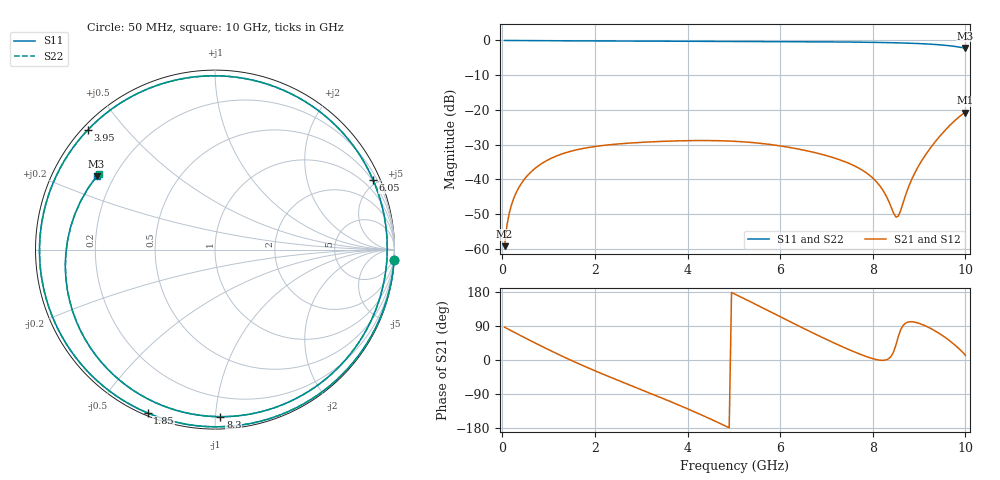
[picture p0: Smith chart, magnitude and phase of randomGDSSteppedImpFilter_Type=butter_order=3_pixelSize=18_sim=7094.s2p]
! freq	dB(S11)	phase(S11)	dB(S12)	phase(S12)
!  dB(S21)	phase(S21)	dB(S22)	phase(S22)
!S-par simulation data
#  GHz  S  DB  R 50
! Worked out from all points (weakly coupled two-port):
!   200 points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, 50 MHz to 10 GHz, reference 50 ohm
!   highest |S21| = -20.84 dB at 10 GHz (marker M1); lowest = -59.3 dB at 50 MHz (marker M2)
!   lowest |S11| = -2.2 dB at 10 GHz (marker M3), VSWR 7.92, Z = 6.81 + j14 ohm
!   |S11| at or under -10 dB: nowhere
!   |S22| runs from -2.2 to 0.0 dB; largest |S21 - S12| = 0
!   S11 on the Smith chart (normalised r, x): 50 MHz: 0, -35; 1.85 GHz: 0.01, -0.67; 3.95 GHz: 0.02, +0.40; 6.05 GHz: 0.45, +4.71; 8.3 GHz: 0.07, -1.03; 10 GHz: 0.14, +0.28
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0.05  -0.00 -3.3  -59.27 86.4  -59.27 86.4  -0.00 -3.3
0.1  -0.01 -6.5  -53.28 83.3  -53.28 83.3  -0.01 -6.5
0.2  -0.02 -12.9  -47.31 76.9  -47.31 76.9  -0.02 -12.9
0.5  -0.05 -32.0  -39.60 57.8  -39.60 57.8  -0.04 -32.0
1.15  -0.09 -72.1  -33.40 18.4  -33.40 18.4  -0.09 -72.1
1.75  -0.13 -106.8  -31.10 -15.3  -31.10 -15.3  -0.13 -106.9
1.85  -0.13 -112.4  -30.87 -20.6  -30.87 -20.6  -0.13 -112.5
2.65  -0.17 -155.5  -29.67 -61.1  -29.67 -61.1  -0.17 -155.6
3.4  -0.21 165.4  -29.11 -98.0  -29.11 -98.0  -0.21 165.3
3.95  -0.24 136.6  -28.88 -126.1  -28.88 -126.1  -0.24 136.5
4.5  -0.26 107.3  -28.85 -155.9  -28.85 -155.9  -0.26 107.3
5.05  -0.29 77.6  -29.08 172.3  -29.08 172.3  -0.29 77.5
6.05  -0.33 23.8  -30.48 111.2  -30.48 111.2  -0.33 23.6
6.7  -0.37 -9.9  -32.16 71.8  -32.16 71.8  -0.37 -10.0
7.55  -0.46 -51.8  -35.79 24.1  -35.79 24.1  -0.46 -51.9
8.3  -0.62 -88.2  -45.07 0.7  -45.07 0.7  -0.62 -88.4
8.35  -0.63 -90.7  -46.50 4.0  -46.50 4.0  -0.63 -90.9
8.55  -0.70 -100.9  -50.65 61.1  -50.65 61.1  -0.70 -101.1
8.95  -0.87 -122.9  -37.10 98.6  -37.10 98.6  -0.88 -123.2
9.5  -1.32 -160.5  -26.80 65.0  -26.80 65.0  -1.33 -161.1
9.75  -1.68 176.9  -23.35 41.9  -23.35 41.9  -1.70 176.0
10  -2.20 148.2  -20.84 12.5  -20.84 12.5  -2.24 147.0
